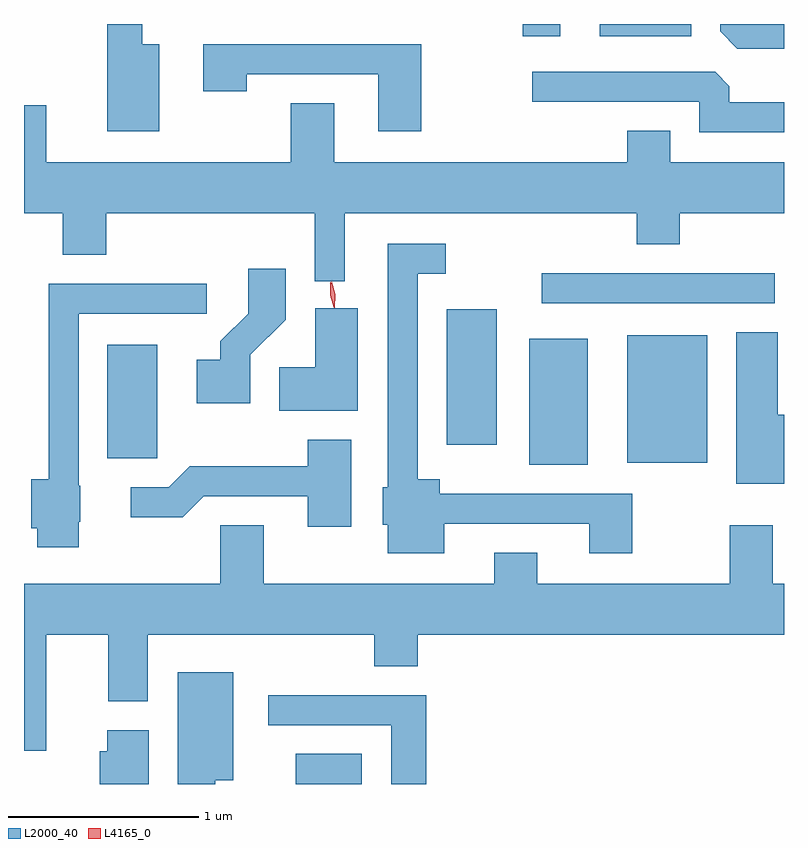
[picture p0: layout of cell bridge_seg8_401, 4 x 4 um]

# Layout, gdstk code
import gdstk
lib = gdstk.Library(unit=1e-6, precision=1e-09)
def R(c, l, rs):  # rectangles x0, y0, x1, y1
    for r in rs: c.add(gdstk.rectangle(r[:2], r[2:], *l))
def P(c, l, *ps):  # polygons
    for p in ps: c.add(gdstk.Polygon(p, *l))
L2000_40 = (2000, 40)
L4165_0 = (4165, 0)

bridge_seg8_401 = lib.new_cell('bridge_seg8_401')
R(bridge_seg8_401, L2000_40, [(696.176,1820.091,696.524,1820.249), (697.406,1821.771,697.714,1822.434), (697.921,1821.781,698.344,1822.454), (695.186,1821.806,695.449,1822.404), (696.971,1821.876,697.234,1822.589), (697.473,1822.621,698.698,1822.779), (697.371,1824.026,697.569,1824.091), (697.776,1824.026,698.259,1824.091)])
P(bridge_seg8_401, L2000_40, [(698.747,1824.091),(698.411,1824.091),(698.411,1824.052),(698.502,1823.961),(698.747,1823.961)],
  [(695.459,1823.984),(695.369,1823.984),(695.369,1824.091),(695.186,1824.091),(695.186,1823.526),(695.459,1823.526)],
  [(696.839,1823.984),(695.691,1823.984),(695.691,1823.736),(695.919,1823.736),(695.919,1823.826),(696.611,1823.826),(696.611,1823.526),(696.839,1823.526)],
  [(698.747,1823.679),(698.459,1823.679),(698.459,1823.764),(698.384,1823.839),(697.423,1823.839),(697.423,1823.681),(698.301,1823.681),(698.301,1823.521),(698.747,1823.521)],
  [(696.434,1823.096),(697.971,1823.096),(697.971,1822.931),(698.199,1822.931),(698.199,1823.096),(698.747,1823.096),(698.747,1823.364),(698.149,1823.364),(698.149,1823.529),(697.921,1823.529),(697.921,1823.364),(696.379,1823.364),(696.379,1823.674),(696.151,1823.674),(696.151,1823.364),(694.864,1823.364),(694.864,1823.664),(694.747,1823.664),(694.747,1823.096),(694.951,1823.096),(694.951,1822.876),(695.179,1822.876),(695.179,1823.096),(696.276,1823.096),(696.276,1822.738),(696.434,1822.738)],
  [(696.959,1821.461),(697.721,1821.461),(697.721,1821.306),(697.949,1821.306),(697.949,1821.619),(696.934,1821.619),(696.934,1821.694),(696.819,1821.694),(696.819,1822.776),(696.968,1822.776),(696.968,1822.934),(696.661,1822.934),(696.661,1821.654),(696.636,1821.654),(696.636,1821.456),(696.661,1821.456),(696.661,1821.306),(696.959,1821.306)],
  [(695.939,1822.349),(696.124,1822.534),(696.124,1822.804),(695.926,1822.804),(695.926,1822.567),(695.781,1822.422),(695.781,1822.324),(695.656,1822.324),(695.656,1822.096),(695.939,1822.096)],
  [(695.034,1821.47),(695.044,1821.47),(695.044,1821.66),(695.034,1821.66),(695.034,1822.566),(695.708,1822.566),(695.708,1822.724),(694.876,1822.724),(694.876,1821.694),(694.786,1821.694),(694.786,1821.436),(694.816,1821.436),(694.816,1821.336),(695.034,1821.336)],
  [(696.504,1822.594),(696.281,1822.594),(696.281,1822.284),(696.091,1822.284),(696.091,1822.056),(696.504,1822.056)],
  [(698.747,1822.034),(698.714,1822.034),(698.714,1822.469),(698.496,1822.469),(698.496,1821.671),(698.747,1821.671)],
  [(696.469,1821.904),(696.241,1821.904),(696.241,1821.764),(695.619,1821.764),(695.509,1821.654),(695.308,1821.654),(695.308,1821.496),(695.582,1821.496),(695.692,1821.606),(696.241,1821.606),(696.241,1821.446),(696.469,1821.446)],
  [(694.864,1820.876),(695.191,1820.876),(695.191,1820.526),(695.399,1820.526),(695.399,1820.876),(696.591,1820.876),(696.591,1820.711),(696.819,1820.711),(696.819,1820.876),(698.747,1820.876),(698.747,1821.144),(698.689,1821.144),(698.689,1821.454),(698.461,1821.454),(698.461,1821.144),(697.449,1821.144),(697.449,1821.309),(697.221,1821.309),(697.221,1821.144),(696.009,1821.144),(696.009,1821.454),(695.781,1821.454),(695.781,1821.144),(694.747,1821.144),(694.747,1820.266),(694.864,1820.266)],
  [(695.754,1820.111),(695.849,1820.111),(695.849,1820.679),(695.556,1820.679),(695.556,1820.091),(695.754,1820.091)],
  [(696.864,1820.559),(696.033,1820.559),(696.033,1820.401),(696.681,1820.401),(696.681,1820.091),(696.864,1820.091)],
  [(695.404,1820.374),(695.186,1820.374),(695.186,1820.264),(695.146,1820.264),(695.146,1820.091),(695.404,1820.091)])
P(bridge_seg8_401, L4165_0, [(696.382,1822.597),(696.381,1822.598),(696.364,1822.665),(696.366,1822.735),(696.366,1822.736),(696.367,1822.735),(696.384,1822.668),(696.382,1822.598)],
  [(696.376,1822.6),(696.376,1822.6),(696.359,1822.664),(696.36,1822.731),(696.361,1822.732),(696.361,1822.731),(696.379,1822.667),(696.377,1822.6)])

lib.write_gds('bridge_seg8_401.gds')
